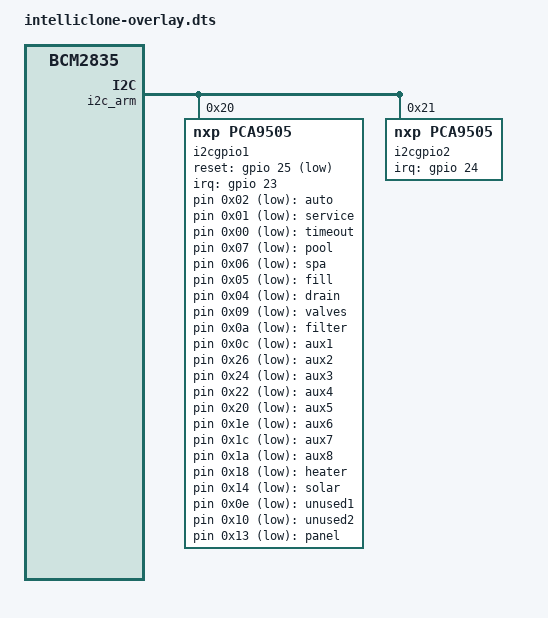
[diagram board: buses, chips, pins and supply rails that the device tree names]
/dts-v1/;
/plugin/;

#include <dt-bindings/gpio/gpio.h>
#include <dt-bindings/interrupt-controller/irq.h>
#include <dt-bindings/input/input.h>

/{
	compatible = "brcm,bcm2835";
	fragment@0 {
		target = <&i2c_arm>;
		__overlay__ {
			#address-cells = <1>;
			#size-cells = <0>;
			status = "okay";

			i2cgpio1: pca9505@20  {
				compatible = "nxp,pca9505";
				reg = < 0x20 >;
				#address-cells = <1>;
				#size-cells = <0>;
				interrupt-parent = < &gpio >;
				interrupts = < 23 IRQ_TYPE_EDGE_FALLING >;
				reset-gpio = < &gpio 25 GPIO_ACTIVE_LOW >;
				#gpio-cells = < 0x02 >;
				gpio-controller;
				gpio-line-names =  "led3", "led2",  "led1",   "sw1",  "led7", "led6",  "led5", "led4",
				                    "sw2", "led8",  "led9",   "sw3", "led10", "sw13", "led20", "sw14",
				                  "led21", "sw15",  "sw16", "led22", "led19", "sw12",   "tp1",  "tp2",
				                  "led18", "sw11", "led17",  "sw10", "led16",  "sw9", "led15",  "sw8",
				                  "led14",  "sw7", "led13",   "sw6", "led12",  "sw5", "led11",  "sw4";
			};

			i2cgpio2: pca9505@21  {
				compatible = "nxp,pca9505";
				reg = < 0x21 >;
				#address-cells = <1>;
				#size-cells = <0>;
				interrupt-parent = < &gpio >;
				interrupts = < 24 IRQ_TYPE_EDGE_FALLING >;
				#gpio-cells = < 0x02 >;
				gpio-controller;
				gpio-line-names =  "out1",  "out2",  "out3",  "out4",  "out5",  "out6",    "out7",  "out8",
				                   "out9", "out10", "out11", "out12", "out13", "out14",   "out15", "out16",
				                  "out17", "out18", "out19", "out20", "out21",   "tp3",     "tp4",   "tp5",
				                    "in1",   "in2",   "in3",   "in4",   "in5",   "in6",     "in7",   "in8",
				                    "in9",  "in10",  "in11",   "tp6",   "tp7",   "tp8", "unused1", "unused2";
				// Set unused pins as outputs to prevent spurious interrupts
				unused {
					gpio-hog;
					gpios = <21 0>, <22 0>, <23 0>, <35 0>, <36 0>, <37 0>, <38 0>, <39 0>;
					output-low;
				};

			};		
		};
	};

	fragment@1 {
		target-path = "/";
		__overlay__ {

			intelliclone-leds {
				compatible = "gpio-leds";

				led1 {
					label = "auto";
					gpios = < &i2cgpio1 0x02 GPIO_ACTIVE_LOW >;
					default-state = "off";
				};

				led2 {
					label = "service";
					gpios = < &i2cgpio1 0x01 GPIO_ACTIVE_LOW >;
					default-state = "off";
				};

				led3 {
					label = "timeout";
					gpios = < &i2cgpio1 0x00 GPIO_ACTIVE_LOW >;
					default-state = "off";
				};

				led4 {
					label = "pool";
					gpios = < &i2cgpio1 0x07 GPIO_ACTIVE_LOW >;
					default-state = "off";
				};

				led5 {
					label = "spa";
					gpios = < &i2cgpio1 0x06 GPIO_ACTIVE_LOW >;
					default-state = "off";
				};

				led6 {
					label = "fill";
					gpios = < &i2cgpio1 0x05 GPIO_ACTIVE_LOW >;
					default-state = "off";
				};

				led7 {
					label = "drain";
					gpios = < &i2cgpio1 0x04 GPIO_ACTIVE_LOW >;
					default-state = "off";
				};

				led8 {
					label = "valves";
					gpios = < &i2cgpio1 0x09 GPIO_ACTIVE_LOW >;
					default-state = "off";
				};

				led9 {
					label = "filter";
					gpios = < &i2cgpio1 0x0a GPIO_ACTIVE_LOW >;
					default-state = "off";
				};

				led10 {
					label = "aux1";
					gpios = < &i2cgpio1 0x0c GPIO_ACTIVE_LOW >;
					default-state = "off";
				};

				led11 {
					label = "aux2";
					gpios = < &i2cgpio1 0x26 GPIO_ACTIVE_LOW >;
					default-state = "off";
				};

				led12 {
					label = "aux3";
					gpios = < &i2cgpio1 0x24 GPIO_ACTIVE_LOW >;
					default-state = "off";
				};

				led13 {
					label = "aux4";
					gpios = < &i2cgpio1 0x22 GPIO_ACTIVE_LOW >;
					default-state = "off";
				};

				led14 {
					label = "aux5";
					gpios = < &i2cgpio1 0x20 GPIO_ACTIVE_LOW >;
					default-state = "off";
				};

				led15 {
					label = "aux6";
					gpios = < &i2cgpio1 0x1e GPIO_ACTIVE_LOW >;
					default-state = "off";
				};

				led16 {
					label = "aux7";
					gpios = < &i2cgpio1 0x1c GPIO_ACTIVE_LOW >;
					default-state = "off";
				};

				led17 {
					label = "aux8";
					gpios = < &i2cgpio1 0x1a GPIO_ACTIVE_LOW >;
					default-state = "off";
				};

				led18 {
					label = "heater";
					gpios = < &i2cgpio1 0x18 GPIO_ACTIVE_LOW >;
					default-state = "off";
				};

				led19 {
					label = "solar";
					gpios = < &i2cgpio1 0x14 GPIO_ACTIVE_LOW >;
					default-state = "off";
				};

				led20 {
					label = "unused1";
					gpios = < &i2cgpio1 0x0e GPIO_ACTIVE_LOW >;
					default-state = "off";
					linux,default-trigger = "timer";
				};

				led21 {
					label = "unused2";
					gpios = < &i2cgpio1 0x10 GPIO_ACTIVE_LOW >;
					default-state = "off";
				};

				led22 {
					label = "panel";
					gpios = < &i2cgpio1 0x13 GPIO_ACTIVE_LOW >;
					default-state = "off";
				};
			};

			intelliclone-buttons {
				compatible = "gpio-keys";

				sw1 {
					label = "mode";
					gpios = < &i2cgpio1 0x03 GPIO_ACTIVE_LOW >;
					linux,code = < 0x01 >;
					debounce-interval = < 100 >;
					gpio-key;
				};

				sw2 {
					label = "v";
					gpios = < &i2cgpio1 0x08 GPIO_ACTIVE_LOW >;
					linux,code = < 0x02 >;
					debounce-interval = < 100 >;
					gpio-key;
				};

				sw3 {
					label = "f";
					gpios = < &i2cgpio1 0x0b GPIO_ACTIVE_LOW >;
					linux,code = < 0x03 >;
					debounce-interval = < 100 >;
					gpio-key;
				};

				sw4 {
					label = "1";
					gpios = < &i2cgpio1 0x27 GPIO_ACTIVE_LOW >;
					linux,code = < 0x04 >;
					debounce-interval = < 100 >;
					gpio-key;
				};

				sw5 {
					label = "2";
					gpios = < &i2cgpio1 0x25 GPIO_ACTIVE_LOW >;
					linux,code = < 0x05 >;
					debounce-interval = < 100 >;
					gpio-key;
				};

				sw6 {
					label = "3";
					gpios = < &i2cgpio1 0x23 GPIO_ACTIVE_LOW >;
					linux,code = < 0x06 >;
					debounce-interval = < 100 >;
					gpio-key;
				};

				sw7 {
					label = "4";
					gpios = < &i2cgpio1 0x21 GPIO_ACTIVE_LOW >;
					linux,code = < 0x07 >;
					debounce-interval = < 100 >;
					gpio-key;
				};

				sw8 {
					label = "5";
					gpios = < &i2cgpio1 0x1f GPIO_ACTIVE_LOW >;
					linux,code = < 0x08 >;
					debounce-interval = < 100 >;
					gpio-key;
				};

				sw9 {
					label = "6";
					gpios = < &i2cgpio1 0x1d GPIO_ACTIVE_LOW >;
					linux,code = < 0x09 >;
					debounce-interval = < 100 >;
					gpio-key;
				};

				sw10 {
					label = "7";
					gpios = < &i2cgpio1 0x1b GPIO_ACTIVE_LOW >;
					linux,code = < 0x0a >;
					debounce-interval = < 100 >;
					gpio-key;
				};

				sw11 {
					label = "8";
					gpios = < &i2cgpio1 0x19 GPIO_ACTIVE_LOW >;
					linux,code = < 0x0b >;
					debounce-interval = < 100 >;
					gpio-key;
				};

				sw12 {
					label = "heater";
					gpios = < &i2cgpio1 0x15 GPIO_ACTIVE_LOW >;
					linux,code = < 0x0c >;
					debounce-interval = < 100 >;
					gpio-key;
				};

				sw13 {
					label = "solar";
					gpios = < &i2cgpio1 0x0d GPIO_ACTIVE_LOW >;
					linux,code = < 0x0d >;
					debounce-interval = < 100 >;
					gpio-key;
				};

				sw14 {
					label = "unused1";
					gpios = < &i2cgpio1 0x0f GPIO_ACTIVE_LOW >;
					linux,code = < 0x0e >;
					debounce-interval = < 100 >;
					gpio-key;
				};

				sw15 {
					label = "unused2";
					gpios = < &i2cgpio1 0x11 GPIO_ACTIVE_LOW >;
					linux,code = < 0x0f >;
					debounce-interval = < 100 >;
					gpio-key;
				};

				sw16 {
					label = "reset";
					gpios = < &i2cgpio1 0x12 GPIO_ACTIVE_LOW >;
					linux,code = < 0x10 >;
					debounce-interval = < 100 >;
					gpio-key;
				};
			};
		};
	};
	fragment@2 {
		target = <&gpio>;
		__overlay__ {
			pinctrl-names = "default";
			pinctrl-0 = <&irq_pins>;

			irq_pins: irq_pins {
				brcm,pins = <23 24>; /* GPIO23 and GPIO24 */
				brcm,function = <0>; /* Input */
				brcm,pull = <2>;     /* Pull up */
			};
		};
	};
    
};
